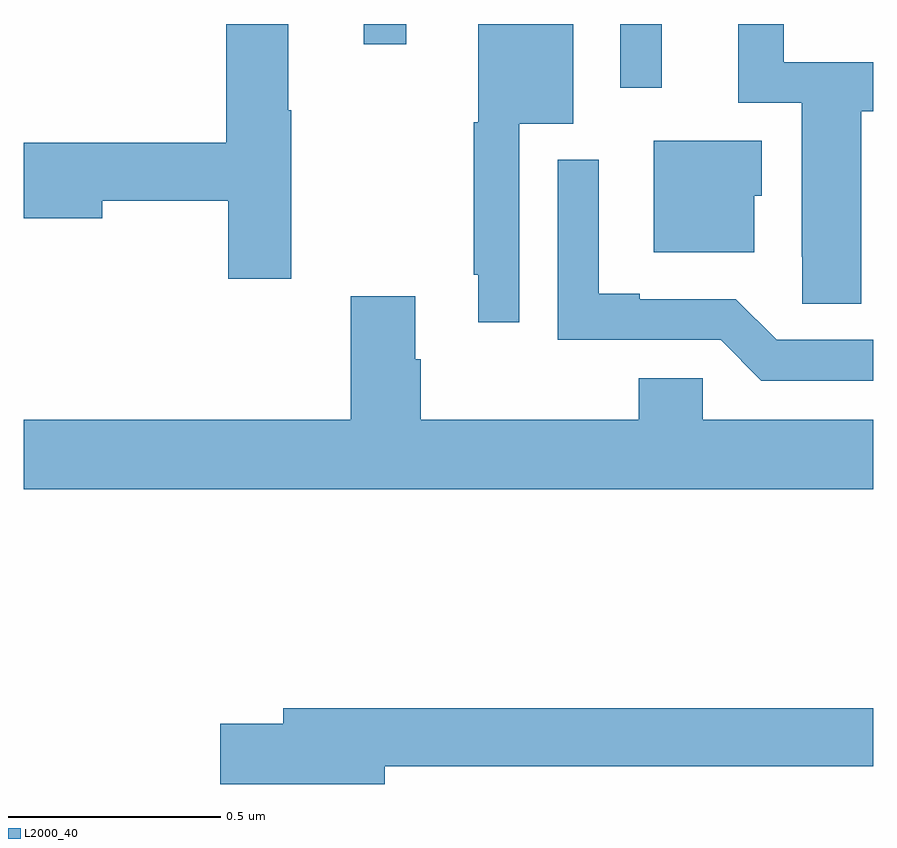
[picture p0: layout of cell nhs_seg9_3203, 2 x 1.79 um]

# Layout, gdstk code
import gdstk
lib = gdstk.Library(unit=1e-6, precision=1e-09)
def R(c, l, rs):  # rectangles x0, y0, x1, y1
    for r in rs: c.add(gdstk.rectangle(r[:2], r[2:], *l))
def P(c, l, *ps):  # polygons
    for p in ps: c.add(gdstk.Polygon(p, *l))
L2000_40 = (2000, 40)

nhs_seg9_3203 = lib.new_cell('nhs_seg9_3203')
R(nhs_seg9_3203, L2000_40, [(151.404,1213.35,151.502,1213.5), (150.8,1213.452,150.9,1213.5)])
P(nhs_seg9_3203, L2000_40, [(151.167,1213.265),(151.294,1213.265),(151.294,1213.5),(151.07,1213.5),(151.07,1213.269),(151.059,1213.269),(151.059,1212.91),(151.07,1212.91),(151.07,1212.798),(151.167,1212.798)],
  [(151.972,1213.294),(152,1213.294),(152,1213.41),(151.79,1213.41),(151.79,1213.5),(151.682,1213.5),(151.682,1213.314),(151.832,1213.314),(151.832,1212.952),(151.833,1212.952),(151.833,1212.841),(151.972,1212.841)],
  [(150.63,1213.297),(150.622,1213.297),(150.622,1213.5),(150.476,1213.5),(150.476,1213.22),(150,1213.22),(150,1213.042),(150.184,1213.042),(150.184,1213.084),(150.481,1213.084),(150.481,1212.9),(150.63,1212.9)],
  [(151.72,1213.095),(151.738,1213.095),(151.738,1213.225),(151.484,1213.225),(151.484,1212.962),(151.72,1212.962)],
  [(152,1212.756),(151.773,1212.756),(151.677,1212.852),(151.45,1212.852),(151.45,1212.865),(151.354,1212.865),(151.354,1213.18),(151.257,1213.18),(151.257,1212.756),(151.641,1212.756),(151.737,1212.66),(152,1212.66)],
  [(152,1212.568),(151.599,1212.568),(151.599,1212.666),(151.448,1212.666),(151.448,1212.568),(150.935,1212.568),(150.935,1212.71),(150.922,1212.71),(150.922,1212.859),(150.77,1212.859),(150.77,1212.568),(150,1212.568),(150,1212.404),(152,1212.404)],
  [(150.85,1211.752),(152,1211.752),(152,1211.888),(150.611,1211.888),(150.611,1211.852),(150.462,1211.852),(150.462,1211.71),(150.85,1211.71)])

lib.write_gds('nhs_seg9_3203.gds')
